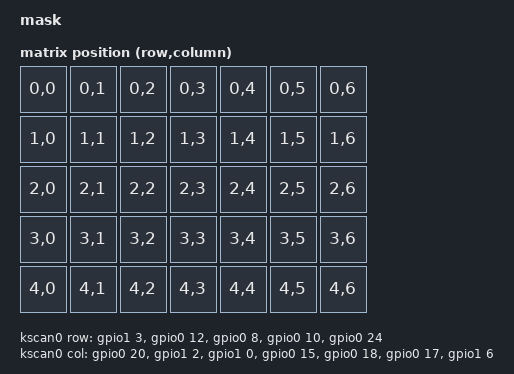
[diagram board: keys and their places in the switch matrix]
/*
 * Copyright (c) 2021 Nick Winans
 *
 * SPDX-License-Identifier: MIT
 */

/dts-v1/;
#include <nordic/nrf5340_cpuapp_qkaa.dtsi>
#include <dt-bindings/zmk/matrix_transform.h>

/ {
	model = "mask";
	compatible = "mask";

	chosen {
		zephyr,code-partition = &slot0_partition;
		zephyr,sram = &sram0;
		zephyr,flash = &flash0;
		zmk,kscan = &kscan0;
		zmk,matrix_transform = &default_transform;
		zmk,underglow = &led_strip;
	};

	default_transform: keymap_transform_0 {
		compatible = "zmk,matrix-transform";
		columns = <7>;
		rows = <5>;
		map = <
RC(0,0) RC(0,1) RC(0,2) RC(0,3) RC(0,4) RC(0,5) RC(0,6)
RC(1,0) RC(1,1) RC(1,2) RC(1,3) RC(1,4) RC(1,5) RC(1,6)
RC(2,0) RC(2,1) RC(2,2) RC(2,3) RC(2,4) RC(2,5) RC(2,6)
RC(3,0) RC(3,1) RC(3,2) RC(3,3) RC(3,4) RC(3,5) RC(3,6)
RC(4,0) RC(4,1) RC(4,2) RC(4,3) RC(4,4) RC(4,5) RC(4,6)
		>;
	};

	kscan0: kscan {
		compatible = "zmk,kscan-gpio-matrix";
		label = "KSCAN";

		diode-direction = "col2row";
		row-gpios
			= <&gpio1 3  (GPIO_ACTIVE_HIGH | GPIO_PULL_DOWN)>
			, <&gpio0 12 (GPIO_ACTIVE_HIGH | GPIO_PULL_DOWN)>
			, <&gpio0 8  (GPIO_ACTIVE_HIGH | GPIO_PULL_DOWN)>
			, <&gpio0 10 (GPIO_ACTIVE_HIGH | GPIO_PULL_DOWN)>
			, <&gpio0 24 (GPIO_ACTIVE_HIGH | GPIO_PULL_DOWN)>
			;
		col-gpios
			= <&gpio0 20 GPIO_ACTIVE_HIGH>
			, <&gpio1 2  GPIO_ACTIVE_HIGH>
			, <&gpio1 0  GPIO_ACTIVE_HIGH>
			, <&gpio0 15 GPIO_ACTIVE_HIGH>
			, <&gpio0 18 GPIO_ACTIVE_HIGH>
			, <&gpio0 17 GPIO_ACTIVE_HIGH>
			, <&gpio1 6  GPIO_ACTIVE_HIGH>
			;
	};
};

&gpiote {
	status = "okay";
};

&gpio0 {
	status = "okay";
};

&gpio1 {
	status = "okay";
};

&spi0 {
	compatible = "nordic,nrf-spim";
	/* Cannot be used together with i2c0. */
	status = "okay";
	sck-pin = <21>;
	mosi-pin = <22>;
	miso-pin = <23>;

	led_strip: ws2812@0 {
		compatible = "worldsemi,ws2812-spi";
		label = "WS2812";

		/* SPI */
		reg = <0>; /* ignored, but necessary for SPI bindings */
		spi-max-frequency = <4000000>;

		/* WS2812 */
		chain-length = <3>; /* LED strip length */
		spi-one-frame = <0x70>;
		spi-zero-frame = <0x40>;
	};
};

&usbd {
    compatible = "nordic,nrf-usbd";
	status = "okay";
};

&flash0 {

	partitions {
		compatible = "fixed-partitions";
		#address-cells = <1>;
		#size-cells = <1>;

		boot_partition: partition@0 {
			label = "mcuboot";
			reg = <0x00000000 0x00010000>;
		};
		slot0_partition: partition@10000 {
			label = "image-0";
		};
		slot0_ns_partition: partition@50000 {
			label = "image-0-nonsecure";
		};
		slot1_partition: partition@80000 {
			label = "image-1";
		};
		slot1_ns_partition: partition@c0000 {
			label = "image-1-nonsecure";
		};
		scratch_partition: partition@f0000 {
			label = "image-scratch";
			reg = <0x000f0000 0xa000>;
		};
		storage_partition: partition@fa000 {
			label = "storage";
			reg = <0x000fa000 0x00006000>;
		};
	};
};

/ {

	reserved-memory {
		#address-cells = <1>;
		#size-cells = <1>;
		ranges;

		sram0_image: image@20000000 {
			/* Zephyr image(s) memory */
		};

		sram0_s: image_s@20000000 {
			/* Secure image memory */
		};

		sram0_ns: image_ns@20040000 {
			/* Non-Secure image memory */
		};
	};
};

/* Include partition configuration file */
#include "nrf5340_cpuapp_partition_conf.dts"
